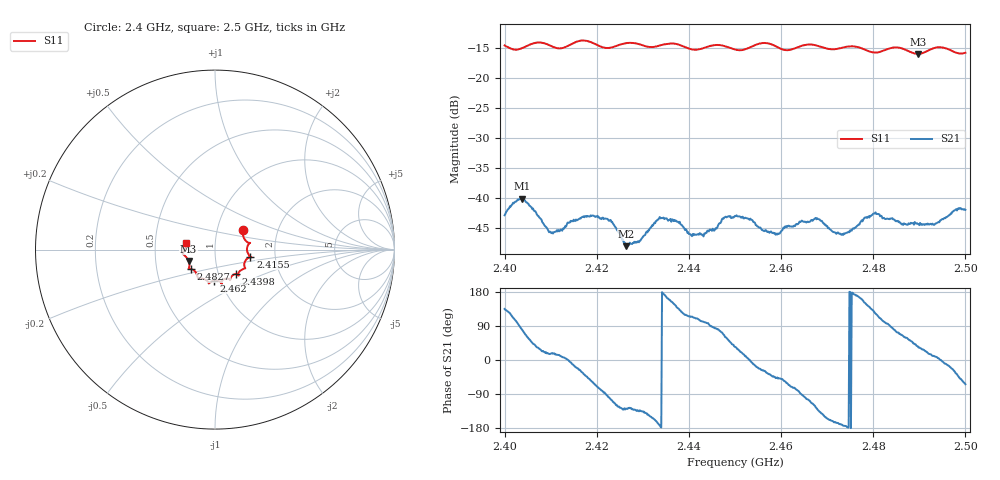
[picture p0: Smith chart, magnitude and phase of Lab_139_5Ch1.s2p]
# Hz S RI R 50
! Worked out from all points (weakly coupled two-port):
!   601 points, 2.4 GHz to 2.5 GHz, reference 50 ohm
!   highest |S21| = -40.02 dB at 2.4038 GHz (marker M1); lowest = -48.0 dB at 2.4263 GHz (marker M2)
!   lowest |S11| = -15.9 dB at 2.4897 GHz (marker M3), VSWR 1.38, Z = 36.9 - j4.82 ohm
!   |S11| at or under -10 dB: start of sweep to end of sweep
!   S12 and S22 are empty: the file has one direction only
!   S11 on the Smith chart (normalised r, x): 2.4 GHz: 1.33, +0.29; 2.4155 GHz: 1.49, -0.12; 2.4398 GHz: 1.21, -0.34; 2.462 GHz: 0.93, -0.33; 2.4827 GHz: 0.75, -0.17; 2.5 GHz: 0.72, +0.06
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2.4e9  0.1553 0.1068  -0.0051 0.00514  0 0  0 0
2.403833e9  0.1726 0.0484  0.00185 0.0098  0 0  0 0
2.41e9  0.1852 0.0269  0.005 0.00151  0 0  0 0
2.4155e9  0.1978 -0.0396  0.00629 -0.00222  0 0  0 0
2.416667e9  0.2026 -0.0428  0.00594 -0.00361  0 0  0 0
2.422833e9  0.164 -0.0743  -0.00129 -0.00643  0 0  0 0
2.426333e9  0.1678 -0.1027  -0.00247 -0.00314  0 0  0 0
2.429167e9  0.1608 -0.107  -0.00307 -0.00303  0 0  0 0
2.433333e9  0.1297 -0.1343  -0.0065 -0.00141  0 0  0 0
2.439833e9  0.1151 -0.136  -0.00227 0.00472  0 0  0 0
2.443167e9  0.0876 -0.1563  -0.000909 0.00474  0 0  0 0
2.45e9  0.0649 -0.1617  0.00587 0.0041  0 0  0 0
2.458667e9  0.0337 -0.1839  0.00365 -0.00363  0 0  0 0
2.462e9  -0.00521 -0.1732  0.00207 -0.00547  0 0  0 0
2.466667e9  -0.0347 -0.1884  -0.00271 -0.00603  0 0  0 0
2.473167e9  -0.0824 -0.1601  -0.0049 -0.000821  0 0  0 0
2.480167e9  -0.1114 -0.1213  -0.00454 0.00594  0 0  0 0
2.482667e9  -0.1348 -0.1086  -0.000959 0.00666  0 0  0 0
2.483333e9  -0.14 -0.1082  -0.000402 0.00674  0 0  0 0
2.489667e9  -0.1471 -0.0636  0.00494 0.00362  0 0  0 0
2.494333e9  -0.1809 -0.0213  0.00631 0.000327  0 0  0 0
2.5e9  -0.1591 0.039  0.00354 -0.00721  0 0  0 0
